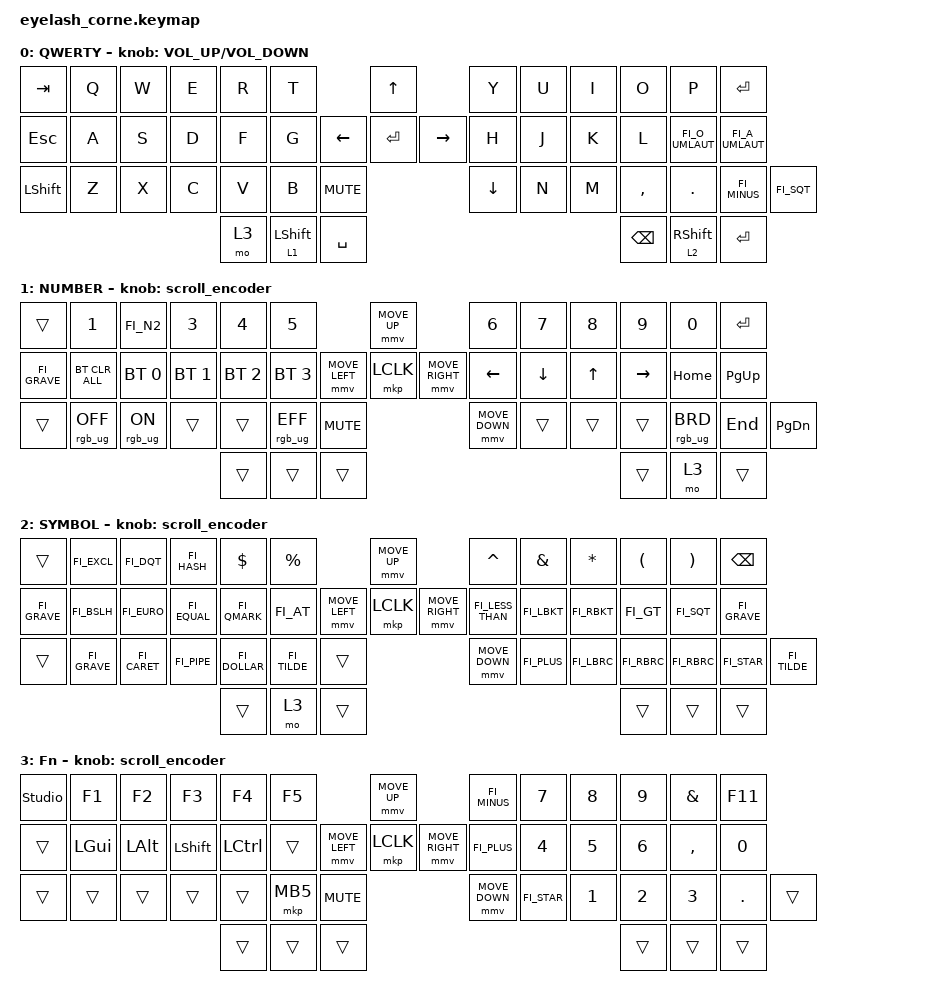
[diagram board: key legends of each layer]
#define ZMK_POINTING_DEFAULT_MOVE_VAL 1200  // 600
#define ZMK_POINTING_DEFAULT_SCRL_VAL 25   // 10

#include <input/processors.dtsi>
#include <zephyr/dt-bindings/input/input-event-codes.h>
#include <behaviors.dtsi>
#include <dt-bindings/zmk/bt.h>
#include <dt-bindings/zmk/ext_power.h>
#include <dt-bindings/zmk/keys.h>
#include <dt-bindings/zmk/outputs.h>
#include <dt-bindings/zmk/pointing.h>
#include <dt-bindings/zmk/rgb.h>
#include "keys_fi.h" // Tää on nyt suomalaisia kirjaimia varten, ton tiedoston pitää olla /config

&mmv_input_listener { input-processors = <&zip_xy_scaler 2 1>; };

&msc_input_listener { input-processors = <&zip_scroll_scaler 2 1>; };

&msc {
    acceleration-exponent = <1>;      // 0
    time-to-max-speed-ms = <100>;       // 300
    delay-ms = <0>;                   // 0
};

&mmv {
    time-to-max-speed-ms = <500>;
    acceleration-exponent = <1>;
    trigger-period-ms = <16>;
};

&mt {
    tapping-term-ms = <200>;
};

/ {
    behaviors { 
	os_mo: one_shot_mod_hold_layer {
            compatible = "zmk,behavior-hold-tap";
            label = "ONE_SHOT_MOD_HOLD_LAYER";
            #binding-cells = <2>;
            flavor = "tap-preferred"; 
            tapping-term-ms = <100>;
            bindings = <&mo>, <&sk>;
        };

    }; 
    /*     td0: td0 { */
    /*         compatible = "zmk,behavior-tap-dance"; */
    /*         display-name = "Shift/Caps Lock Tap Dance"; */
    /*         #binding-cells = <0>; */
    /*         bindings = <&kp LEFT_SHIFT>, <&kp CAPS>; */
    /*     }; */

	// jos unohdat niin ensin V ja sitten gc niin sillä voi kommentata kaiken tän
	/* hml: home_row_mod_left { */
	/*            compatible = "zmk,behavior-hold-tap"; */
	/*            #binding-cells = <2>; */
	/*            flavor = "tap-preferred"; */
	/*            require-prior-idle-ms = <0>; */
	/*            tapping-term-ms = <180>; */
	/*            quick-tap-ms = <0>; */
	/*            bindings = <&kp>, <&kp>; */
	/*            hold-trigger-key-positions = <23 24 25 26>; // Right-hand key indices (J, K, L, Ö) */
	/*        }; */
	/**/
	/*        hmr: home_row_mod_right { */
	/*            compatible = "zmk,behavior-hold-tap"; */
	/*            #binding-cells = <2>; */
	/*            flavor = "tap-preferred"; */
	/*            require-prior-idle-ms = <0>; */
	/*            tapping-term-ms = <180>; */
	/*            quick-tap-ms = <0>; */
	/*            bindings = <&kp>, <&kp>; */
	/*     hold-trigger-key-positions = <14 15 16 17>; // Left-hand key index (A, S, D, F) */
	/*        }; */

    combos {
	compatible = "zmk,combos";
        // Z + X → GUI
        combo_zx_gui {
            timeout-ms = <50>;
            key-positions = <29 30>;
            bindings = <&kp LGUI>;
        };

        // X + C → Alt
        combo_xc_alt {
            timeout-ms = <50>;
            key-positions = <30 31>;
            bindings = <&kp LALT>;
        };

        // C + V → Control
        combo_cv_alt {
            timeout-ms = <50>;
            key-positions = <31 32>;
            bindings = <&kp LCTRL>;
        };

        /* // D + F → Shift */
        /* combo_df_shift { */
        /*     timeout-ms = <50>; */
        /*     key-positions = <16 17>; */
        /*     bindings = <&kp LSHIFT>; */
        /* }; */
        /**/
        /* // J + K → Shift */
        /* combo_jk_shift { */
        /*     timeout-ms = <50>; */
        /*     key-positions = <23 24>; */
        /*     bindings = <&kp RSHIFT>; */
        /* }; */
        /**/

        // M + , → Control
        combo_m_alt {
            timeout-ms = <50>;
            key-positions = <37 38>;
            bindings = <&kp RCTRL>;
        };

        // , + . → Alt
        combo_comma_dot_alt {
            timeout-ms = <50>;
            key-positions = <38 39>;
            bindings = <&kp LALT>;
        };

        // . + - → GUI
        combo_dot_minus_gui {
            timeout-ms = <50>;
            key-positions = <39 40>;
            bindings = <&kp RGUI>;
        };

    };

    rgb_encoder: rgb_encoder {
        compatible = "zmk,behavior-sensor-rotate";
        #sensor-binding-cells = <0>;
        bindings = <&rgb_ug RGB_BRI>, <&rgb_ug RGB_BRD>;
    };

    scroll_encoder: scroll_encoder {
        compatible = "zmk,behavior-sensor-rotate";
        #sensor-binding-cells = <0>;
        bindings = <&msc SCRL_DOWN>, <&msc SCRL_UP>;
        tap-ms = <100>;
    };

    keymap {
        compatible = "zmk,keymap";

        default_layer {
            display-name = "QWERTY";
            bindings = <
&kp TAB &kp Q &kp W &kp E &kp R &kp T                                                     &kp UP               &kp Y &kp U &kp I &kp O &kp P &kp ENTER
&kp ESC &kp A &kp S &kp D &kp F &kp G                                            &kp LEFT &kp ENTER &kp RIGHT  &kp H &kp J &kp K &kp L &kp FI_O_UMLAUT &kp FI_A_UMLAUT
&kp LSHFT &kp Z &kp X &kp C &kp V &kp B &kp C_MUTE                                        &kp DOWN             &kp N &kp M &kp COMMA &kp PERIOD &kp FI_MINUS &kp FI_SQT
                             &mo 3  &os_mo 1 LSHIFT &kp SPACE                                                           &kp BSPC  &os_mo 2 RSHIFT  &kp ENTER

            >;
            sensor-bindings = <&inc_dec_kp C_VOLUME_UP C_VOLUME_DOWN>;
        };

        lower_layer {
            display-name = "NUMBER";
            bindings = <
&trans &kp N1 &kp FI_N2 &kp N3 &kp N4 &kp N5                                                     &mmv MOVE_UP               &kp N6 &kp N7 &kp N8 &kp N9 &kp N0 &kp ENTER
&kp FI_GRAVE &bt BT_CLR_ALL &bt BT_SEL 0 &bt BT_SEL 1 &bt BT_SEL 2 &bt BT_SEL 3   &mmv MOVE_LEFT &mkp LCLK &mmv MOVE_RIGHT  &kp LEFT &kp DOWN &kp UP &kp RIGHT &kp HOME  &kp PG_UP
&trans &rgb_ug RGB_OFF &rgb_ug RGB_ON &trans &trans &rgb_ug RGB_EFF &kp C_MUTE                   &mmv MOVE_DOWN             &trans  &trans &trans &rgb_ug RGB_BRD  &kp END   &kp PG_DN
                                         &trans &trans &trans                                                               &trans &mo 3 &trans
            >;
            sensor-bindings = <&scroll_encoder>;
        };

        raise_layer {
            display-name = "SYMBOL";
            bindings = <
&trans &kp FI_EXCL &kp FI_DQT &kp FI_HASH &kp DLLR &kp PRCNT                                &mmv MOVE_UP                  &kp CARET  &kp AMPS   &kp ASTRK  &kp LPAR  &kp RPAR  &kp BSPC
&kp FI_GRAVE  &kp FI_BSLH &kp FI_EURO &kp FI_EQUAL &kp FI_QMARK &kp FI_AT   &mmv MOVE_LEFT  &mkp LCLK &mmv MOVE_RIGHT     &kp FI_LESS_THAN &kp FI_LBKT &kp FI_RBKT &kp FI_GT &kp FI_SQT &kp FI_GRAVE
&trans &kp FI_GRAVE &kp FI_CARET &kp FI_PIPE &kp FI_DOLLAR &kp FI_TILDE &trans              &mmv MOVE_DOWN                &kp FI_PLUS &kp FI_LBRC &kp FI_RBRC &kp FI_RBRC &kp FI_STAR &kp FI_TILDE
                                    &trans &mo 3 &trans                                                                   &trans &trans &trans
            >;
            sensor-bindings = <&scroll_encoder>;
        };

        layer_3 {
            display-name = "Fn";
            bindings = <
&studio_unlock &kp F1 &kp F2 &kp F3 &kp F4 &kp F5                                &mmv MOVE_UP            	  &kp FI_MINUS &kp N7 &kp N8 &kp N9 &kp AMPS &kp F11
&trans  &kp LGUI &kp LALT &kp LEFT_SHIFT &kp LCTRL &trans         &mmv MOVE_LEFT &mkp LCLK &mmv MOVE_RIGHT        &kp FI_PLUS &kp N4 &kp N5 &kp N6 &kp COMMA &kp N0
&trans &trans &trans &trans &trans &mkp MB5 &kp C_MUTE                           &mmv MOVE_DOWN                   &kp FI_STAR &kp N1 &kp N2 &kp N3 &kp PERIOD &trans
                                &trans &trans &trans                                                              &trans &trans &trans
            >;
            sensor-bindings = <&scroll_encoder>;
        };
    };
};


